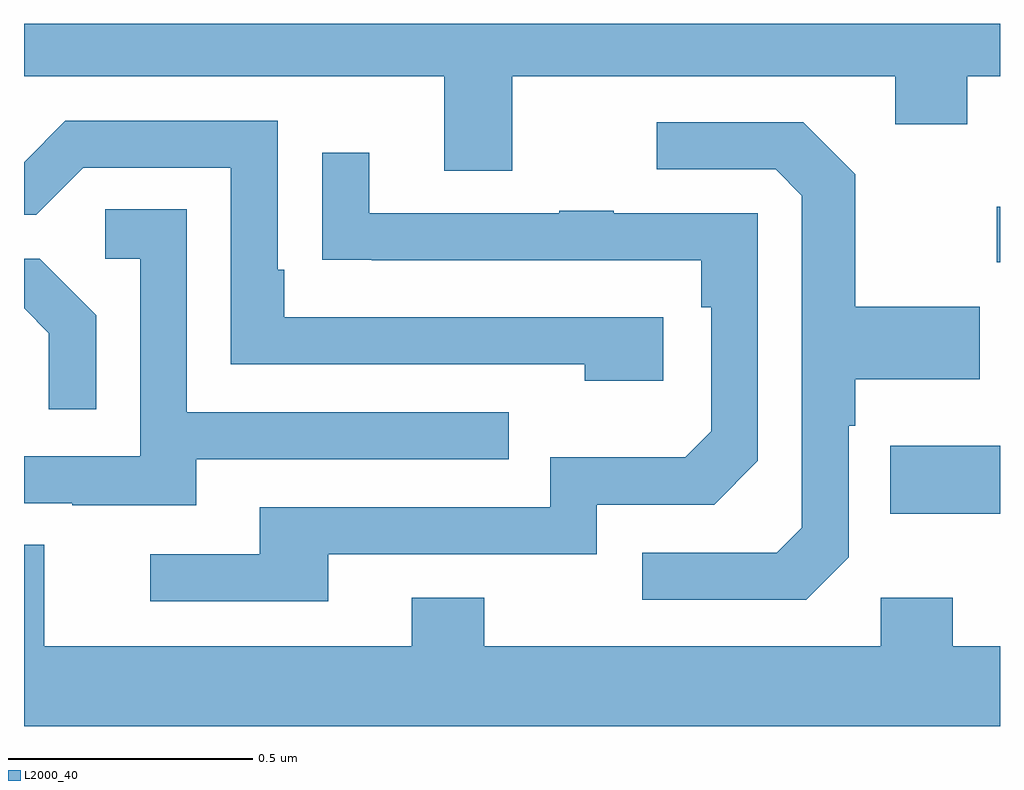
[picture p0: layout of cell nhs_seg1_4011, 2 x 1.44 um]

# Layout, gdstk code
import gdstk
lib = gdstk.Library(unit=1e-6, precision=1e-09)
def R(c, l, rs):  # rectangles x0, y0, x1, y1
    for r in rs: c.add(gdstk.rectangle(r[:2], r[2:], *l))
def P(c, l, *ps):  # polygons
    for p in ps: c.add(gdstk.Polygon(p, *l))
L2000_40 = (2000, 40)

nhs_seg1_4011 = lib.new_cell('nhs_seg1_4011')
R(nhs_seg1_4011, L2000_40, [(162.775,524.195,163,524.335), (162.993,524.711,163,524.824)])
P(nhs_seg1_4011, L2000_40, [(162.001,525.092),(162.785,525.092),(162.785,524.993),(162.933,524.993),(162.933,525.092),(163,525.092),(163,525.199),(161,525.199),(161,525.092),(161.861,525.092),(161.861,524.898),(162.001,524.898)],
  [(162.31,524.598),(161.533,524.598),(161.533,524.695),(161.52,524.695),(161.52,525),(161.085,525),(161,524.915),(161,524.808),(161.025,524.808),(161.121,524.904),(161.424,524.904),(161.424,524.502),(162.149,524.502),(162.149,524.468),(162.31,524.468)],
  [(162.69,524.106),(162.69,524.375),(162.703,524.375),(162.703,524.471),(162.959,524.471),(162.959,524.619),(162.703,524.619),(162.703,524.891),(162.597,524.997),(162.297,524.997),(162.297,524.901),(162.54,524.901),(162.594,524.847),(162.594,524.166),(162.543,524.115),(162.267,524.115),(162.267,524.019),(162.603,524.019)],
  [(161.623,524.112),(162.174,524.112),(162.174,524.214),(162.414,524.214),(162.504,524.304),(162.504,524.811),(162.209,524.811),(162.209,524.816),(162.097,524.816),(162.097,524.811),(161.707,524.811),(161.707,524.935),(161.611,524.935),(161.611,524.716),(161.713,524.716),(161.713,524.715),(162.388,524.715),(162.388,524.618),(162.408,524.618),(162.408,524.364),(162.355,524.311),(162.078,524.311),(162.078,524.208),(161.483,524.208),(161.483,524.112),(161.259,524.112),(161.259,524.016),(161.623,524.016)],
  [(161.353,524.307),(161.993,524.307),(161.993,524.403),(161.334,524.403),(161.334,524.819),(161.166,524.819),(161.166,524.718),(161.238,524.718),(161.238,524.313),(161,524.313),(161,524.217),(161.099,524.217),(161.099,524.213),(161.353,524.213)],
  [(161.148,524.602),(161.032,524.718),(161,524.718),(161,524.616),(161.051,524.565),(161.051,524.409),(161.148,524.409)],
  [(163,523.924),(162.903,523.924),(162.903,524.023),(162.756,524.023),(162.756,523.924),(161.943,523.924),(161.943,524.023),(161.795,524.023),(161.795,523.924),(161.041,523.924),(161.041,524.132),(161,524.132),(161,523.76),(163,523.76)])

lib.write_gds('nhs_seg1_4011.gds')
